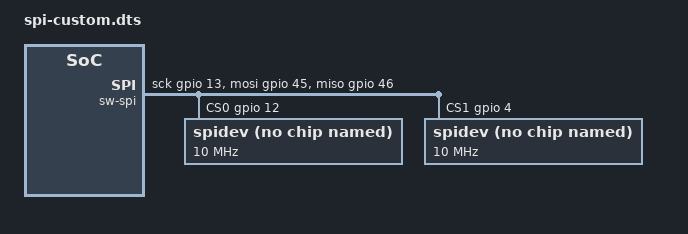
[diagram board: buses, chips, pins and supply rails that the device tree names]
/dts-v1/;
/plugin/;
/ {
  fragment@0 {
    target-path = "/";
    __overlay__ {
      sw-spi {
        /* properties for kernel 5.10 */
        /* - generic: https://git.kernel.org/pub/scm/linux/kernel/git/stable/linux.git/tree/Documentation/devicetree/bindings/spi/spi-controller.yaml?h=v5.10.194 */
        /* - spi-gpio: https://git.kernel.org/pub/scm/linux/kernel/git/stable/linux.git/tree/Documentation/devicetree/bindings/spi/spi-gpio.yaml?h=v5.10.194 */
        compatible = "spi-gpio";
        #address-cells = <0x1>;
        #size-cells = <0x0>;
        sck-gpios = <&gpio 13 0>;
        mosi-gpios = <&gpio 45 0>;
        miso-gpios = <&gpio 46 0>;
        cs-gpios = <&gpio 12 0>, <&gpio 4 0>;
        num-chipselects = <2>;

        /* probably obsolete, belong to individual clients */
        spi-max-frequency = <100000>;
        spi-cs-high;

        /* clients */
        spidev@0 {
          compatible = "linux,spidev";
          reg = <0>;
          spi-max-frequency = <10000000>;
          spi-cs-high;
        };
        spidev@1 {
          compatible = "linux,spidev";
          reg = <1>;
          spi-max-frequency = <10000000>;
          spi-cs-high;
        };

      };

    };
  };
};
